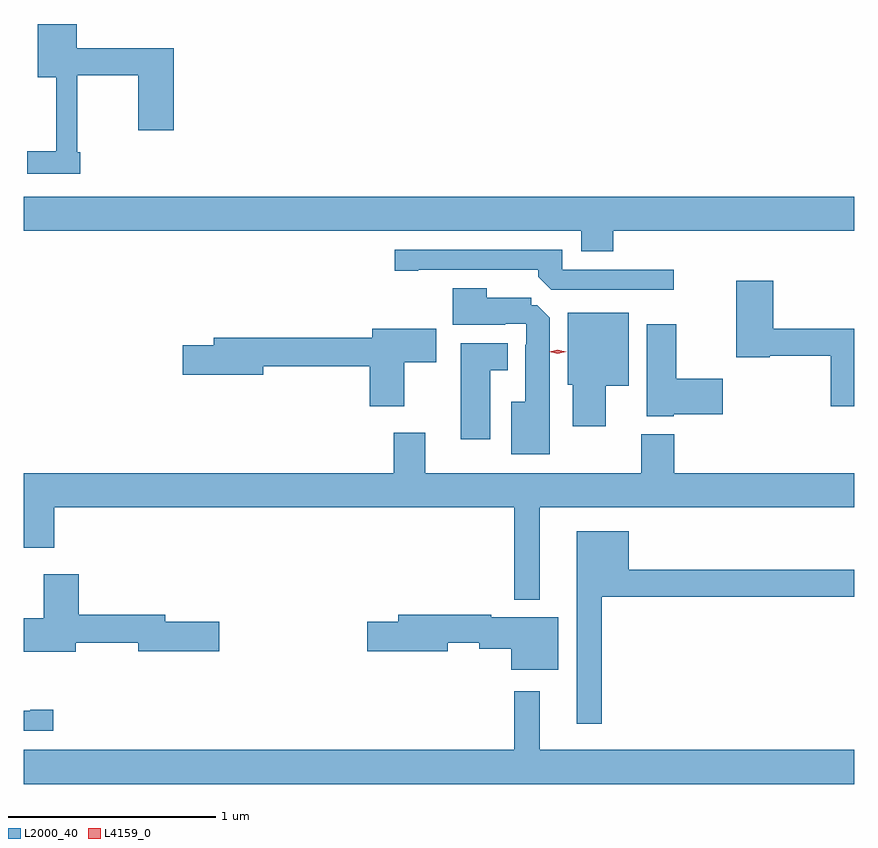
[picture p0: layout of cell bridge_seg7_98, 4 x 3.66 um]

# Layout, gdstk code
import gdstk
lib = gdstk.Library(unit=1e-6, precision=1e-09)
def P(c, l, *ps):  # polygons
    for p in ps: c.add(gdstk.Polygon(p, *l))
L2000_40 = (2000, 40)
L4159_0 = (4159, 0)

bridge_seg7_98 = lib.new_cell('bridge_seg7_98')
P(bridge_seg7_98, L2000_40, [(1100.795,1003.657),(1100.78,1003.657),(1100.78,1004.029),(1101.074,1004.029),(1101.074,1003.764),(1101.245,1003.764),(1101.245,1004.158),(1100.776,1004.158),(1100.776,1004.275),(1100.588,1004.275),(1100.588,1004.018),(1100.678,1004.018),(1100.678,1003.663),(1100.538,1003.663),(1100.538,1003.554),(1100.795,1003.554)],
  [(1103.36,1003.28),(1104.521,1003.28),(1104.521,1003.444),(1100.521,1003.444),(1100.521,1003.28),(1103.207,1003.28),(1103.207,1003.181),(1103.36,1003.181)],
  [(1103.65,1003.092),(1103.115,1003.092),(1103.115,1003.188),(1102.308,1003.188),(1102.308,1003.087),(1102.42,1003.087),(1102.42,1003.092),(1103,1003.092),(1103,1003.058),(1103.061,1002.996),(1103.65,1002.996)],
  [(1104.521,1002.808),(1104.131,1002.808),(1104.131,1003.039),(1103.953,1003.039),(1103.953,1002.671),(1104.114,1002.671),(1104.114,1002.679),(1104.407,1002.679),(1104.407,1002.435),(1104.521,1002.435)],
  [(1103.053,1002.861),(1102.993,1002.921),(1102.965,1002.921),(1102.965,1002.958),(1102.75,1002.958),(1102.75,1003.003),(1102.586,1003.003),(1102.586,1002.827),(1102.841,1002.827),(1102.841,1002.831),(1102.941,1002.831),(1102.941,1002.731),(1102.937,1002.731),(1102.937,1002.457),(1102.868,1002.457),(1102.868,1002.203),(1103.053,1002.203)],
  [(1103.323,1002.533),(1103.434,1002.533),(1103.434,1002.886),(1103.141,1002.886),(1103.141,1002.537),(1103.165,1002.537),(1103.165,1002.339),(1103.323,1002.339)],
  [(1103.652,1002.395),(1103.887,1002.395),(1103.887,1002.566),(1103.664,1002.566),(1103.664,1002.829),(1103.522,1002.829),(1103.522,1002.386),(1103.652,1002.386)],
  [(1102.354,1002.646),(1102.507,1002.646),(1102.507,1002.808),(1102.199,1002.808),(1102.199,1002.764),(1101.437,1002.764),(1101.437,1002.728),(1101.288,1002.728),(1101.288,1002.586),(1101.676,1002.586),(1101.676,1002.628),(1102.187,1002.628),(1102.187,1002.435),(1102.354,1002.435)],
  [(1102.768,1002.608),(1102.852,1002.608),(1102.852,1002.739),(1102.625,1002.739),(1102.625,1002.276),(1102.768,1002.276)],
  [(1102.304,1002.307),(1102.304,1002.112),(1100.521,1002.112),(1100.521,1001.754),(1100.669,1001.754),(1100.669,1001.948),(1102.884,1001.948),(1102.884,1001.504),(1103.005,1001.504),(1103.005,1001.948),(1104.521,1001.948),(1104.521,1002.112),(1103.654,1002.112),(1103.654,1002.301),(1103.494,1002.301),(1103.494,1002.112),(1102.456,1002.112),(1102.456,1002.307)],
  [(1103.305,1001.518),(1104.521,1001.518),(1104.521,1001.647),(1103.434,1001.647),(1103.434,1001.833),(1103.183,1001.833),(1103.183,1000.905),(1103.305,1000.905)],
  [(1100.773,1001.296),(1101.074,1001.296),(1101.074,1001.254),(1101.463,1001.254),(1101.463,1001.396),(1101.202,1001.396),(1101.202,1001.432),(1100.786,1001.432),(1100.786,1001.626),(1100.618,1001.626),(1100.618,1001.415),(1100.521,1001.415),(1100.521,1001.252),(1100.773,1001.252)],
  [(1103.095,1001.419),(1102.772,1001.419),(1102.772,1001.432),(1102.325,1001.432),(1102.325,1001.396),(1102.176,1001.396),(1102.176,1001.254),(1102.564,1001.254),(1102.564,1001.296),(1102.715,1001.296),(1102.715,1001.266),(1102.868,1001.266),(1102.868,1001.165),(1103.095,1001.165)],
  [(1104.521,1000.78),(1103.005,1000.78),(1103.005,1001.062),(1102.884,1001.062),(1102.884,1000.78),(1100.521,1000.78),(1100.521,1000.616),(1104.521,1000.616)],
  [(1100.665,1000.973),(1100.552,1000.973),(1100.552,1000.968),(1100.521,1000.968),(1100.521,1000.872),(1100.665,1000.872)])
P(bridge_seg7_98, L4159_0, [(1103.093,1002.687),(1103.052,1002.697),(1103.052,1002.698),(1103.052,1002.698),(1103.093,1002.707),(1103.134,1002.698),(1103.134,1002.697),(1103.134,1002.697)])

lib.write_gds('bridge_seg7_98.gds')
